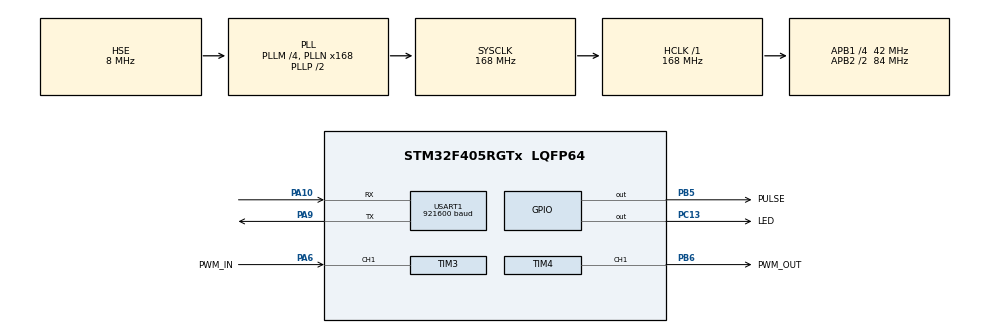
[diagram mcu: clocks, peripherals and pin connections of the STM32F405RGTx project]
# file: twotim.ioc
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Mcu.Family=STM32F4
Mcu.Name=STM32F405RGTx
Mcu.Package=LQFP64
NVIC.PriorityGroup=NVIC_PRIORITYGROUP_4
NVIC.TIM3_IRQn=true\:0\:0\:false\:false\:true\:true\:true\:true
NVIC.TIM5_IRQn=true\:0\:0\:false\:false\:true\:true\:true\:true
PA10.Mode=Asynchronous
PA10.Signal=USART1_RX
PA13.Mode=Serial_Wire
PA13.Signal=SYS_JTMS-SWDIO
PA14.Mode=Serial_Wire
PA14.Signal=SYS_JTCK-SWCLK
PA6.GPIO_Label=PWM_IN
PA6.Signal=S_TIM3_CH1
PA9.Mode=Asynchronous
PA9.Signal=USART1_TX
PB5.GPIO_Label=PULSE
PB5.Signal=GPIO_Output
PB6.GPIO_Label=PWM_OUT
PB6.Signal=S_TIM4_CH1
PC13-ANTI_TAMP.GPIO_Label=LED
PC13-ANTI_TAMP.Signal=GPIO_Output
PH0-OSC_IN.Mode=HSE-External-Oscillator
PH0-OSC_IN.Signal=RCC_OSC_IN
PH1-OSC_OUT.Mode=HSE-External-Oscillator
PH1-OSC_OUT.Signal=RCC_OSC_OUT
ProjectManager.HeapSize=0x200
ProjectManager.StackSize=0x400
ProjectManager.TargetToolchain=STM32CubeIDE
RCC.48MHZClocksFreq_Value=84000000
RCC.AHBFreq_Value=168000000
RCC.APB1CLKDivider=RCC_HCLK_DIV4
RCC.APB1Freq_Value=42000000
RCC.APB1TimFreq_Value=84000000
RCC.APB2CLKDivider=RCC_HCLK_DIV2
RCC.APB2Freq_Value=84000000
RCC.APB2TimFreq_Value=168000000
RCC.CortexFreq_Value=168000000
RCC.HCLKFreq_Value=168000000
RCC.HSE_VALUE=8000000
RCC.HSI_VALUE=16000000
RCC.LSE_VALUE=32768
RCC.PLLM=4
RCC.PLLN=168
RCC.PLLSourceVirtual=RCC_PLLSOURCE_HSE
RCC.SYSCLKFreq_VALUE=168000000
RCC.SYSCLKSource=RCC_SYSCLKSOURCE_PLLCLK
RCC.VCOOutputFreq_Value=336000000
SH.S_TIM3_CH1.0=TIM3_CH1,PWM_Input_1
SH.S_TIM4_CH1.0=TIM4_CH1,PWM Generation1 CH1
TIM3.Prescaler=83
TIM4.Channel-PWM\ Generation1\ CH1=TIM_CHANNEL_1
TIM4.Period=999
TIM4.Prescaler=839
TIM4.Pulse-PWM\ Generation1\ CH1=500
TIM5.CounterMode=TIM_COUNTERMODE_DOWN
TIM5.Period=5000
TIM5.Prescaler=83
USART1.BaudRate=921600
USART1.VirtualMode=VM_ASYNC
VP_TIM3_VS_ClockSourceINT.Mode=Internal
VP_TIM4_VS_ClockSourceINT.Mode=Internal
VP_TIM5_VS_ClockSourceINT.Mode=Internal
board=custom

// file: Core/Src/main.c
/* USER CODE BEGIN Header */
/**
  ******************************************************************************
  * @file           : main.c
  * @brief          : Main program body
  ******************************************************************************
  * @attention
  *
  * Copyright (c) 2022 Lars Boegild Thomsen <lbthomsen@gmail.com>
  * All rights reserved.
  *
  * This software is licensed under terms that can be found in the LICENSE file
  * in the root directory of this software component.
  * If no LICENSE file comes with this software, it is provided AS-IS.
  *
  ******************************************************************************
  */
/* USER CODE END Header */
#include "main.h"

/* USER CODE BEGIN Includes */
#include <stdio.h>
/* USER CODE END Includes */

TIM_HandleTypeDef htim3;
TIM_HandleTypeDef htim4;
TIM_HandleTypeDef htim5;

UART_HandleTypeDef huart1;

/* USER CODE BEGIN PV */

uint32_t last_period = 0;
uint32_t last_high = 0;

/* USER CODE END PV */

void SystemClock_Config(void);
static void MX_GPIO_Init(void);
static void MX_TIM3_Init(void);
static void MX_TIM4_Init(void);
static void MX_USART1_UART_Init(void);
static void MX_TIM5_Init(void);

/* USER CODE BEGIN 0 */

// Send printf to uart1
int _write(int fd, char* ptr, int len) {
  HAL_StatusTypeDef hstatus;

  if (fd == 1 || fd == 2) {
    hstatus = HAL_UART_Transmit(&huart1, (uint8_t *) ptr, len, HAL_MAX_DELAY);
    if (hstatus == HAL_OK)
      return len;
    else
      return -1;
  }
  return -1;
}

void HAL_TIM_PeriodElapsedCallback(TIM_HandleTypeDef *htim) {
    if (htim->Instance == TIM5) {

        HAL_GPIO_WritePin(PULSE_GPIO_Port, PULSE_Pin, GPIO_PIN_SET);
        HAL_TIM_Base_Stop(&htim5);

    }
}

void HAL_TIM_IC_CaptureCallback(TIM_HandleTypeDef *htim) {
    if (htim->Instance == TIM3) {

        HAL_GPIO_WritePin(PULSE_GPIO_Port, PULSE_Pin, GPIO_PIN_RESET);

        last_period = HAL_TIM_ReadCapturedValue(htim, TIM_CHANNEL_1);
        last_high = HAL_TIM_ReadCapturedValue(htim, TIM_CHANNEL_2);

        __HAL_TIM_SET_COUNTER(&htim5, last_period - 1000); // Fire 1 ms before expected next pulse
        HAL_TIM_Base_Start_IT(&htim5);

    }
}

/* USER CODE END 0 */

int main(void)
{

  /* MCU Configuration--------------------------------------------------------*/

  /* Reset of all peripherals, Initializes the Flash interface and the Systick. */
  HAL_Init();

  /* Configure the system clock */
  SystemClock_Config();

  /* Initialize all configured peripherals */
  MX_GPIO_Init();
  MX_TIM3_Init();
  MX_TIM4_Init();
  MX_USART1_UART_Init();
  MX_TIM5_Init();
  /* USER CODE BEGIN 2 */

  DBG("\n\n-------------\nStarting");

  HAL_TIM_PWM_Start(&htim4, TIM_CHANNEL_1);

  HAL_TIM_IC_Start_IT(&htim3, TIM_CHANNEL_1); // Primary channel - rising edge
  HAL_TIM_IC_Start(&htim3, TIM_CHANNEL_2);    // Secondary channel - falling edge

  /* USER CODE END 2 */

  /* Infinite loop */
  /* USER CODE BEGIN WHILE */

  uint32_t now = 0, last_tick = 0;

  while (1)
  {

      now = HAL_GetTick();

      if (now - last_tick >= 1000) {
          DBG("Tick %lu period = %lu high = %lu", now / 1000, last_period, last_high);
          last_tick = now;
      }

    /* USER CODE END WHILE */

  }
}

void SystemClock_Config(void)
{
  RCC_OscInitTypeDef RCC_OscInitStruct = {0};
  RCC_ClkInitTypeDef RCC_ClkInitStruct = {0};

  /** Configure the main internal regulator output voltage
  */
  __HAL_RCC_PWR_CLK_ENABLE();
  __HAL_PWR_VOLTAGESCALING_CONFIG(PWR_REGULATOR_VOLTAGE_SCALE1);

  /** Initializes the RCC Oscillators according to the specified parameters
  * in the RCC_OscInitTypeDef structure.
  */
  RCC_OscInitStruct.OscillatorType = RCC_OSCILLATORTYPE_HSE;
  RCC_OscInitStruct.HSEState = RCC_HSE_ON;
  RCC_OscInitStruct.PLL.PLLState = RCC_PLL_ON;
  RCC_OscInitStruct.PLL.PLLSource = RCC_PLLSOURCE_HSE;
  RCC_OscInitStruct.PLL.PLLM = 4;
  RCC_OscInitStruct.PLL.PLLN = 168;
  RCC_OscInitStruct.PLL.PLLP = RCC_PLLP_DIV2;
  RCC_OscInitStruct.PLL.PLLQ = 4;
  if (HAL_RCC_OscConfig(&RCC_OscInitStruct) != HAL_OK)
  {
    Error_Handler();
  }

  /** Initializes the CPU, AHB and APB buses clocks
  */
  RCC_ClkInitStruct.ClockType = RCC_CLOCKTYPE_HCLK|RCC_CLOCKTYPE_SYSCLK
                              |RCC_CLOCKTYPE_PCLK1|RCC_CLOCKTYPE_PCLK2;
  RCC_ClkInitStruct.SYSCLKSource = RCC_SYSCLKSOURCE_PLLCLK;
  RCC_ClkInitStruct.AHBCLKDivider = RCC_SYSCLK_DIV1;
  RCC_ClkInitStruct.APB1CLKDivider = RCC_HCLK_DIV4;
  RCC_ClkInitStruct.APB2CLKDivider = RCC_HCLK_DIV2;

  if (HAL_RCC_ClockConfig(&RCC_ClkInitStruct, FLASH_LATENCY_5) != HAL_OK)
  {
    Error_Handler();
  }
}

static void MX_TIM3_Init(void)
{

  TIM_ClockConfigTypeDef sClockSourceConfig = {0};
  TIM_SlaveConfigTypeDef sSlaveConfig = {0};
  TIM_IC_InitTypeDef sConfigIC = {0};
  TIM_MasterConfigTypeDef sMasterConfig = {0};

  htim3.Instance = TIM3;
  htim3.Init.Prescaler = 83;
  htim3.Init.CounterMode = TIM_COUNTERMODE_UP;
  htim3.Init.Period = 65535;
  htim3.Init.ClockDivision = TIM_CLOCKDIVISION_DIV1;
  htim3.Init.AutoReloadPreload = TIM_AUTORELOAD_PRELOAD_DISABLE;
  if (HAL_TIM_Base_Init(&htim3) != HAL_OK)
  {
    Error_Handler();
  }
  sClockSourceConfig.ClockSource = TIM_CLOCKSOURCE_INTERNAL;
  if (HAL_TIM_ConfigClockSource(&htim3, &sClockSourceConfig) != HAL_OK)
  {
    Error_Handler();
  }
  if (HAL_TIM_IC_Init(&htim3) != HAL_OK)
  {
    Error_Handler();
  }
  sSlaveConfig.SlaveMode = TIM_SLAVEMODE_RESET;
  sSlaveConfig.InputTrigger = TIM_TS_TI1FP1;
  sSlaveConfig.TriggerPolarity = TIM_INPUTCHANNELPOLARITY_RISING;
  sSlaveConfig.TriggerPrescaler = TIM_ICPSC_DIV1;
  sSlaveConfig.TriggerFilter = 0;
  if (HAL_TIM_SlaveConfigSynchro(&htim3, &sSlaveConfig) != HAL_OK)
  {
    Error_Handler();
  }
  sConfigIC.ICPolarity = TIM_INPUTCHANNELPOLARITY_RISING;
  sConfigIC.ICSelection = TIM_ICSELECTION_DIRECTTI;
  sConfigIC.ICPrescaler = TIM_ICPSC_DIV1;
  sConfigIC.ICFilter = 0;
  if (HAL_TIM_IC_ConfigChannel(&htim3, &sConfigIC, TIM_CHANNEL_1) != HAL_OK)
  {
    Error_Handler();
  }
  sConfigIC.ICPolarity = TIM_INPUTCHANNELPOLARITY_FALLING;
  sConfigIC.ICSelection = TIM_ICSELECTION_INDIRECTTI;
  if (HAL_TIM_IC_ConfigChannel(&htim3, &sConfigIC, TIM_CHANNEL_2) != HAL_OK)
  {
    Error_Handler();
  }
  sMasterConfig.MasterOutputTrigger = TIM_TRGO_RESET;
  sMasterConfig.MasterSlaveMode = TIM_MASTERSLAVEMODE_DISABLE;
  if (HAL_TIMEx_MasterConfigSynchronization(&htim3, &sMasterConfig) != HAL_OK)
  {
    Error_Handler();
  }

}

static void MX_TIM4_Init(void)
{

  TIM_ClockConfigTypeDef sClockSourceConfig = {0};
  TIM_MasterConfigTypeDef sMasterConfig = {0};
  TIM_OC_InitTypeDef sConfigOC = {0};

  htim4.Instance = TIM4;
  htim4.Init.Prescaler = 839;
  htim4.Init.CounterMode = TIM_COUNTERMODE_UP;
  htim4.Init.Period = 999;
  htim4.Init.ClockDivision = TIM_CLOCKDIVISION_DIV1;
  htim4.Init.AutoReloadPreload = TIM_AUTORELOAD_PRELOAD_DISABLE;
  if (HAL_TIM_Base_Init(&htim4) != HAL_OK)
  {
    Error_Handler();
  }
  sClockSourceConfig.ClockSource = TIM_CLOCKSOURCE_INTERNAL;
  if (HAL_TIM_ConfigClockSource(&htim4, &sClockSourceConfig) != HAL_OK)
  {
    Error_Handler();
  }
  if (HAL_TIM_PWM_Init(&htim4) != HAL_OK)
  {
    Error_Handler();
  }
  sMasterConfig.MasterOutputTrigger = TIM_TRGO_RESET;
  sMasterConfig.MasterSlaveMode = TIM_MASTERSLAVEMODE_DISABLE;
  if (HAL_TIMEx_MasterConfigSynchronization(&htim4, &sMasterConfig) != HAL_OK)
  {
    Error_Handler();
  }
  sConfigOC.OCMode = TIM_OCMODE_PWM1;
  sConfigOC.Pulse = 500;
  sConfigOC.OCPolarity = TIM_OCPOLARITY_HIGH;
  sConfigOC.OCFastMode = TIM_OCFAST_DISABLE;
  if (HAL_TIM_PWM_ConfigChannel(&htim4, &sConfigOC, TIM_CHANNEL_1) != HAL_OK)
  {
    Error_Handler();
  }
  HAL_TIM_MspPostInit(&htim4);

}

static void MX_TIM5_Init(void)
{

  TIM_ClockConfigTypeDef sClockSourceConfig = {0};
  TIM_MasterConfigTypeDef sMasterConfig = {0};

  htim5.Instance = TIM5;
  htim5.Init.Prescaler = 83;
  htim5.Init.CounterMode = TIM_COUNTERMODE_DOWN;
  htim5.Init.Period = 5000;
  htim5.Init.ClockDivision = TIM_CLOCKDIVISION_DIV1;
  htim5.Init.AutoReloadPreload = TIM_AUTORELOAD_PRELOAD_DISABLE;
  if (HAL_TIM_Base_Init(&htim5) != HAL_OK)
  {
    Error_Handler();
  }
  sClockSourceConfig.ClockSource = TIM_CLOCKSOURCE_INTERNAL;
  if (HAL_TIM_ConfigClockSource(&htim5, &sClockSourceConfig) != HAL_OK)
  {
    Error_Handler();
  }
  sMasterConfig.MasterOutputTrigger = TIM_TRGO_RESET;
  sMasterConfig.MasterSlaveMode = TIM_MASTERSLAVEMODE_DISABLE;
  if (HAL_TIMEx_MasterConfigSynchronization(&htim5, &sMasterConfig) != HAL_OK)
  {
    Error_Handler();
  }

}

static void MX_USART1_UART_Init(void)
{

  huart1.Instance = USART1;
  huart1.Init.BaudRate = 921600;
  huart1.Init.WordLength = UART_WORDLENGTH_8B;
  huart1.Init.StopBits = UART_STOPBITS_1;
  huart1.Init.Parity = UART_PARITY_NONE;
  huart1.Init.Mode = UART_MODE_TX_RX;
  huart1.Init.HwFlowCtl = UART_HWCONTROL_NONE;
  huart1.Init.OverSampling = UART_OVERSAMPLING_16;
  if (HAL_UART_Init(&huart1) != HAL_OK)
  {
    Error_Handler();
  }

}

static void MX_GPIO_Init(void)
{
  GPIO_InitTypeDef GPIO_InitStruct = {0};

  /* GPIO Ports Clock Enable */
  __HAL_RCC_GPIOC_CLK_ENABLE();
  __HAL_RCC_GPIOH_CLK_ENABLE();
  __HAL_RCC_GPIOA_CLK_ENABLE();
  __HAL_RCC_GPIOB_CLK_ENABLE();

  /*Configure GPIO pin Output Level */
  HAL_GPIO_WritePin(LED_GPIO_Port, LED_Pin, GPIO_PIN_RESET);

  /*Configure GPIO pin Output Level */
  HAL_GPIO_WritePin(PULSE_GPIO_Port, PULSE_Pin, GPIO_PIN_RESET);

  /*Configure GPIO pin : LED_Pin */
  GPIO_InitStruct.Pin = LED_Pin;
  GPIO_InitStruct.Mode = GPIO_MODE_OUTPUT_PP;
  GPIO_InitStruct.Pull = GPIO_NOPULL;
  GPIO_InitStruct.Speed = GPIO_SPEED_FREQ_LOW;
  HAL_GPIO_Init(LED_GPIO_Port, &GPIO_InitStruct);

  /*Configure GPIO pin : PULSE_Pin */
  GPIO_InitStruct.Pin = PULSE_Pin;
  GPIO_InitStruct.Mode = GPIO_MODE_OUTPUT_PP;
  GPIO_InitStruct.Pull = GPIO_NOPULL;
  GPIO_InitStruct.Speed = GPIO_SPEED_FREQ_LOW;
  HAL_GPIO_Init(PULSE_GPIO_Port, &GPIO_InitStruct);

}

void Error_Handler(void)
{
  __disable_irq();
  while (1)
  {
  }
}
